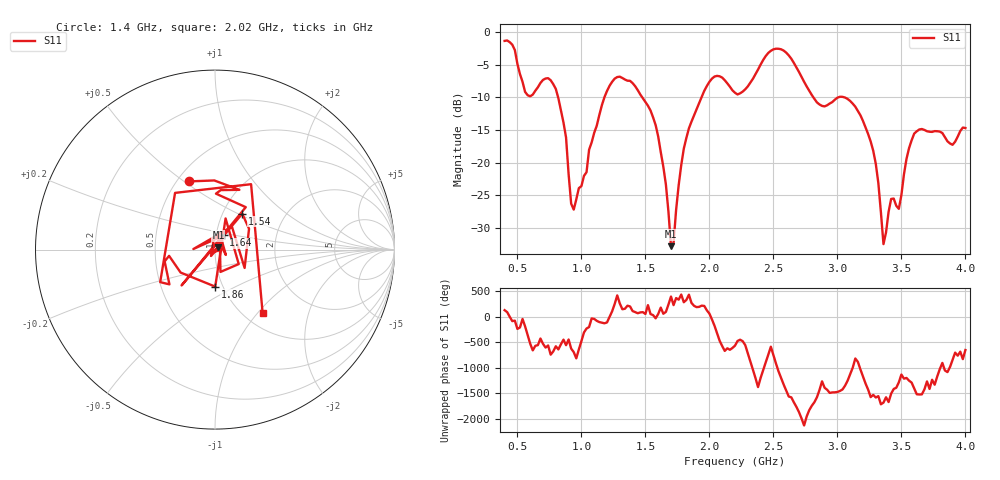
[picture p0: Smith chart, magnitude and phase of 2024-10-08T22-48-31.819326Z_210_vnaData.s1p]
! Created with skrf (http://scikit-rf.org).
# Hz S RI R 50.0
!freq ReS11 ImS11
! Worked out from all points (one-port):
!   181 points, 400 MHz to 4 GHz, reference 50 ohm
!   lowest |S11| = -32.8 dB at 1.7 GHz (marker M1), VSWR 1.05, Z = 51.9 + j1.36 ohm
!   |S11| at or under -10 dB: 818.3 MHz to 1.18 GHz (361.2 MHz wide, 36.2 % of centre); 1.476 GHz to 1.938 GHz (462.4 MHz wide, 27.1 % of centre); 3.056 GHz to end of sweep (the widest 3 of 4)
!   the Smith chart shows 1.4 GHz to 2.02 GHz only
!   S11 on the Smith chart (normalised r, x): 1.4 GHz: 0.57, +0.52; 1.54 GHz: 1.23, +0.53; 1.64 GHz: 1.09, +0.17; 1.86 GHz: 0.92, -0.40; 2.02 GHz: 1.21, -1.06
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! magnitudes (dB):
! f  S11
! 400 MHz  -1.3
! 480 MHz  -2.7
! 580 MHz  -9.7
! 760 MHz  -7.4
! 860 MHz  -13.8
! 920 MHz  -26.3
! 940 MHz  -27.2
! 1.18 GHz  -10.0
! 1.3 GHz  -6.8
! 1.4 GHz  -7.8
! 1.54 GHz  -12.0
! 1.64 GHz  -20.6
! 1.7 GHz  -32.8
! 1.72 GHz  -32.3
! 1.76 GHz  -23.4
! 1.86 GHz  -13.7
! 2.02 GHz  -7.1
! 2.2 GHz  -9.3
! 2.5 GHz  -2.6
! 2.66 GHz  -4.7
! 2.86 GHz  -11.1
! 3.1 GHz  -10.5
! 3.28 GHz  -18.2
! 3.36 GHz  -32.5
! 3.42 GHz  -25.5
! 3.48 GHz  -27.1
! 3.56 GHz  -17.8
! 4 GHz  -14.7
